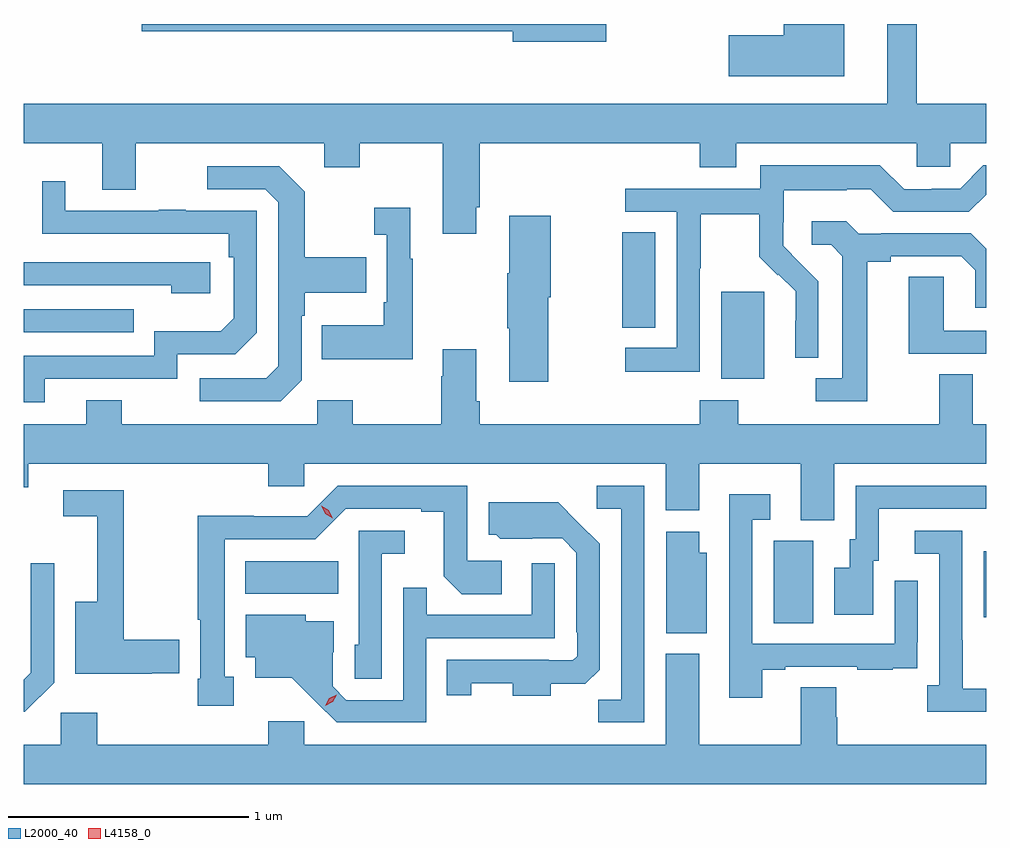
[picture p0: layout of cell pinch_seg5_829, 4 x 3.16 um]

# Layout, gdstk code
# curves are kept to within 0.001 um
import gdstk
lib = gdstk.Library(unit=1e-6, precision=1e-09)
def R(c, l, rs):  # rectangles x0, y0, x1, y1
    for r in rs: c.add(gdstk.rectangle(r[:2], r[2:], *l))
def P(c, l, *ps):  # polygons
    for p in ps: c.add(gdstk.Polygon(p, *l))
L2000_40 = (2000, 40)
L4158_0 = (4158, 0)

pinch_seg5_829 = lib.new_cell('pinch_seg5_829')
R(pinch_seg5_829, L2000_40, [(762.278,877.408,762.442,877.752), (763.151,877.433,763.16,877.708), (760.079,877.532,760.466,877.666), (762.059,878.426,762.238,878.787), (759.16,878.619,759.617,878.715), (761.647,878.638,761.785,879.035)])
P(pinch_seg5_829, L2000_40, [(762.571,879.9),(762.32,879.9),(762.32,879.854),(762.09,879.854),(762.09,879.683),(762.571,879.683)],
  [(761.581,879.9),(759.649,879.9),(759.649,879.87),(761.192,879.87),(761.192,879.827),(761.581,879.827)],
  [(761.041,879.139),(761.054,879.139),(761.054,879.404),(761.969,879.404),(761.969,879.305),(762.121,879.305),(762.121,879.404),(762.873,879.404),(762.873,879.306),(763.011,879.306),(763.011,879.404),(763.16,879.404),(763.16,879.568),(762.871,879.568),(762.871,879.9),(762.749,879.9),(762.749,879.568),(759.16,879.568),(759.16,879.404),(759.485,879.404),(759.485,879.21),(759.625,879.21),(759.625,879.404),(760.409,879.404),(760.409,879.305),(760.557,879.305),(760.557,879.404),(760.901,879.404),(760.901,879.027),(761.041,879.027)],
  [(761.97,878.884),(761.973,878.884),(761.973,879.108),(762.217,879.108),(762.217,878.933),(762.294,878.856),(762.297,878.859),(762.368,878.789),(762.368,878.666),(762.366,878.666),(762.366,878.512),(762.462,878.512),(762.462,878.83),(762.316,878.978),(762.316,879.075),(762.318,879.075),(762.318,879.209),(762.581,879.209),(762.581,879.213),(762.681,879.213),(762.774,879.12),(763.089,879.12),(763.16,879.191),(763.16,879.312),(763.149,879.312),(763.053,879.216),(762.935,879.216),(762.935,879.213),(762.819,879.213),(762.719,879.313),(762.222,879.313),(762.222,879.216),(761.661,879.216),(761.661,879.12),(761.874,879.12),(761.874,878.553),(761.661,878.553),(761.661,878.455),(761.97,878.455)],
  [(760.314,878.418),(760.314,878.687),(760.327,878.687),(760.327,878.783),(760.583,878.783),(760.583,878.931),(760.327,878.931),(760.327,879.203),(760.221,879.309),(759.921,879.309),(759.921,879.213),(760.164,879.213),(760.218,879.159),(760.218,878.478),(760.167,878.427),(759.891,878.427),(759.891,878.331),(760.227,878.331)],
  [(759.247,878.424),(759.798,878.424),(759.798,878.526),(760.038,878.526),(760.128,878.616),(760.128,879.123),(759.833,879.123),(759.833,879.128),(759.721,879.128),(759.721,879.123),(759.331,879.123),(759.331,879.247),(759.235,879.247),(759.235,879.028),(760.012,879.027),(760.012,878.93),(760.032,878.93),(760.032,878.676),(759.979,878.623),(759.702,878.623),(759.702,878.52),(759.16,878.52),(759.16,878.328),(759.247,878.328)],
  [(760.777,878.923),(760.765,878.923),(760.765,879.136),(760.617,879.136),(760.617,879.023),(760.668,879.023),(760.668,878.743),(760.656,878.743),(760.656,878.647),(760.399,878.647),(760.399,878.507),(760.777,878.507)],
  [(761.34,878.763),(761.35,878.763),(761.35,879.103),(761.177,879.103),(761.177,878.863),(761.17,878.863),(761.17,878.635),(761.177,878.635),(761.177,878.412),(761.34,878.412)],
  [(762.667,878.912),(762.763,878.912),(762.763,878.934),(763.058,878.934),(763.115,878.877),(763.115,878.721),(763.16,878.721),(763.16,878.966),(763.096,879.03),(762.724,879.03),(762.724,879.027),(762.63,879.027),(762.578,879.079),(762.435,879.079),(762.435,878.982),(762.516,878.982),(762.563,878.935),(762.563,878.427),(762.453,878.427),(762.453,878.331),(762.667,878.331)],
  [(759.934,878.91),(759.16,878.91),(759.16,878.814),(759.773,878.814),(759.773,878.78),(759.934,878.78)],
  [(763.16,878.625),(762.984,878.625),(762.984,878.849),(762.839,878.849),(762.839,878.529),(763.16,878.529)],
  [(760.175,877.979),(760.326,877.979),(760.326,878.072),(761.828,878.072),(761.828,877.878),(761.968,877.878),(761.968,878.072),(762.389,878.072),(762.389,877.837),(762.529,877.837),(762.529,878.072),(763.16,878.072),(763.16,878.236),(763.105,878.236),(763.105,878.444),(762.965,878.444),(762.965,878.236),(762.129,878.236),(762.129,878.335),(761.969,878.335),(761.969,878.236),(761.054,878.236),(761.054,878.332),(761.041,878.332),(761.041,878.548),(760.901,878.548),(760.901,878.435),(760.894,878.435),(760.894,878.236),(760.527,878.236),(760.527,878.335),(760.38,878.335),(760.38,878.236),(759.567,878.236),(759.567,878.335),(759.419,878.335),(759.419,878.236),(759.16,878.236),(759.16,877.974),(759.178,877.974),(759.178,878.072),(760.175,878.072)],
  [(762.691,877.668),(762.715,877.668),(762.715,877.884),(763.16,877.884),(763.16,877.98),(762.618,877.98),(762.618,877.758),(762.593,877.758),(762.593,877.639),(762.53,877.639),(762.53,877.443),(762.691,877.443)],
  [(761.739,877.98),(761.541,877.98),(761.541,877.884),(761.643,877.884),(761.643,877.091),(761.548,877.091),(761.548,876.996),(761.739,876.996)],
  [(760.033,877.185),(759.994,877.185),(759.994,877.758),(760.371,877.758),(760.497,877.884),(760.811,877.884),(760.811,877.872),(760.905,877.872),(760.905,877.604),(760.981,877.528),(761.146,877.528),(761.146,877.668),(761.004,877.668),(761.004,877.98),(760.464,877.98),(760.338,877.854),(760.116,877.854),(760.116,877.856),(759.883,877.856),(759.883,877.423),(759.893,877.423),(759.893,877.177),(759.882,877.177),(759.882,877.065),(760.033,877.065)],
  [(759.692,877.201),(759.805,877.201),(759.805,877.34),(759.574,877.34),(759.574,877.962),(759.324,877.962),(759.324,877.854),(759.464,877.854),(759.464,877.498),(759.374,877.498),(759.374,877.198),(759.692,877.198)],
  [(762.229,877.215),(762.325,877.215),(762.325,877.227),(762.625,877.227),(762.625,877.215),(762.773,877.215),(762.773,877.221),(762.875,877.221),(762.875,877.33),(762.876,877.33),(762.876,877.585),(762.78,877.585),(762.78,877.323),(762.189,877.323),(762.189,877.839),(762.262,877.839),(762.262,877.945),(762.093,877.945),(762.093,877.098),(762.229,877.098)],
  [(761.35,877.157),(761.494,877.157),(761.553,877.216),(761.553,877.738),(761.381,877.912),(761.093,877.912),(761.093,877.776),(761.124,877.776),(761.14,877.76),(761.397,877.761),(761.457,877.701),(761.457,877.372),(761.46,877.372),(761.46,877.272),(761.442,877.254),(761.342,877.254),(761.342,877.257),(760.918,877.257),(760.918,877.11),(761.019,877.11),(761.019,877.159),(761.192,877.159),(761.192,877.106),(761.35,877.106)],
  [(763.16,877.137),(763.063,877.137),(763.063,877.337),(763.062,877.337),(763.062,877.794),(762.864,877.794),(762.864,877.698),(762.966,877.698),(762.966,877.15),(762.915,877.15),(762.915,877.04),(763.16,877.04)],
  [(760.647,877.697),(760.744,877.697),(760.744,877.794),(760.551,877.794),(760.551,877.32),(760.536,877.32),(760.536,877.177),(760.647,877.177)],
  [(761.998,877.702),(761.968,877.702),(761.968,877.789),(761.831,877.789),(761.831,877.367),(761.998,877.367)],
  [(760.833,877.347),(761.367,877.347),(761.367,877.657),(761.271,877.657),(761.271,877.443),(760.835,877.443),(760.835,877.556),(760.737,877.556),(760.737,877.089),(760.5,877.089),(760.443,877.146),(760.443,877.288),(760.447,877.288),(760.447,877.417),(760.332,877.417),(760.332,877.444),(760.082,877.444),(760.082,877.268),(760.121,877.268),(760.121,877.181),(760.273,877.181),(760.46,876.996),(760.833,876.996)],
  [(759.285,877.161),(759.285,877.657),(759.189,877.657),(759.189,877.203),(759.16,877.174),(759.16,877.04),(759.164,877.04)],
  [(763.16,876.904),(762.542,876.904),(762.542,877.017),(762.537,877.017),(762.537,877.142),(762.389,877.142),(762.389,876.904),(761.968,876.904),(761.968,877.282),(761.828,877.282),(761.828,876.904),(760.326,876.904),(760.326,877),(760.175,877),(760.175,876.904),(759.464,876.904),(759.464,877.036),(759.312,877.036),(759.312,876.904),(759.16,876.904),(759.16,876.74),(763.16,876.74)])
P(pinch_seg5_829, L4158_0, [(760.413,877.066),(760.413,877.066),(760.43,877.096),(760.461,877.111),(760.461,877.111),(760.461,877.111),(760.444,877.081),(760.413,877.066)],
  [(760.444,877.845),(760.413,877.864),(760.395,877.896),(760.395,877.897),(760.396,877.897),(760.427,877.878),(760.444,877.845),(760.444,877.845)])

lib.write_gds('pinch_seg5_829.gds')
